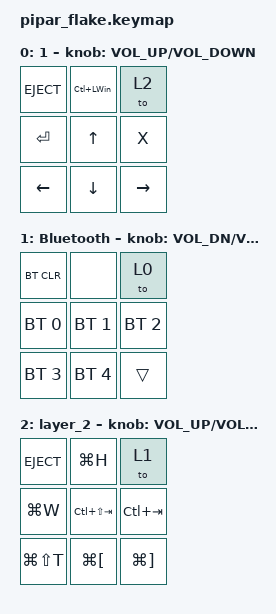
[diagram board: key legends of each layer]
/*
 * Copyright (c) 2022 The ZMK Contributors
 *
 * SPDX-License-Identifier: MIT
 */

#include <behaviors.dtsi>
#include <dt-bindings/zmk/bt.h>
#include <dt-bindings/zmk/keys.h>

#define BASE        0
#define FUNC        1

/ {
    sensors: sensors {
        compatible = "zmk,keymap-sensors";
        sensors = <&encoder_1>;
        triggers-per-rotation = <24>;
    };

    keymap {
        compatible = "zmk,keymap";

        default_layer {
            // ---------------------------//
            // | Q    | W     | ENCODER | //
            // | A    | S     | D       | //
            // | Z    | X     | FN      | //

            display-name = "1";
            bindings = <
&kp C_EJECT     &kp LC(LEFT_WIN)  &to 2
&kp ENTER       &kp UP_ARROW      &kp X
&kp LEFT_ARROW  &kp DOWN_ARROW    &kp RIGHT_ARROW
            >;

            sensor-bindings = <&inc_dec_kp C_VOLUME_UP C_VOLUME_DOWN>;
        };

        function_layer {
            // --------------------------- //
            // | BT_CLR | none | ENCODER | //
            // | BT_0   | BT_1 | BT_2    | //
            // | BT_3   | BT_4 | trans   | //

            display-name = "Bluetooth";
            bindings = <
&bt BT_CLR    &none         &to 0
&bt BT_SEL 0  &bt BT_SEL 1  &bt BT_SEL 2
&bt BT_SEL 3  &bt BT_SEL 4  &trans
            >;

            sensor-bindings = <&inc_dec_kp C_VOL_DN C_VOL_UP>;
        };

        layer_2 {
            bindings = <
&kp C_EJECT    &kp LG(H)             &to 1
&kp LG(W)      &kp LC(LS(TAB))       &kp LC(TAB)
&kp LG(LS(T))  &kp LG(LEFT_BRACKET)  &kp LG(RIGHT_BRACKET)
            >;

            sensor-bindings = <&inc_dec_kp C_VOLUME_UP C_VOLUME_DOWN>;
        };
    };
};
